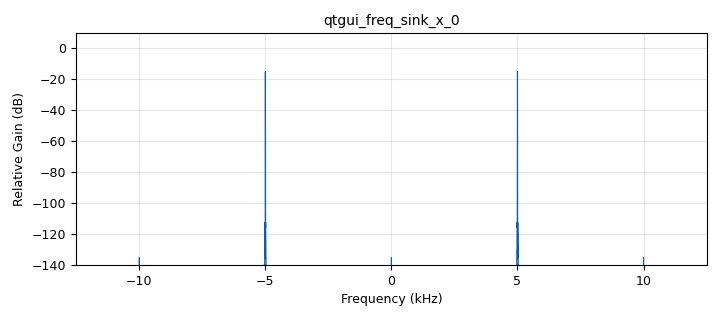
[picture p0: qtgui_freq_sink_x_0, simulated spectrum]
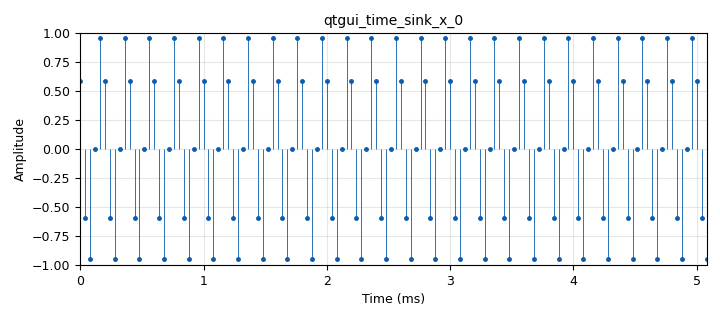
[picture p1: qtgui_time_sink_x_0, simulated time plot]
options:
  parameters:
    generate_options: qt_gui
    id: Lab1b_2
    output_language: python
    title: Lab1_b_2
  states: {}

blocks:
- name: freq
  id: variable_qtgui_range
  parameters:
    label: Frequency
    start: '100'
    step: '100'
    stop: '40000'
    value: '5000'
  states: {}
- name: samp_rate
  id: variable_qtgui_range
  parameters:
    label: Frecuencia de muestreo
    start: '100'
    step: '100'
    stop: '40000'
    value: '25000'
  states: {}
- name: analog_sig_source_x_0
  id: analog_sig_source_x
  parameters:
    amp: '1'
    freq: freq
    offset: '0'
    phase: '0'
    samp_rate: samp_rate
    type: float
    waveform: analog.GR_SIN_WAVE
  states: {}
- name: blocks_throttle_0
  id: blocks_throttle
  parameters:
    samples_per_second: samp_rate
    type: float
  states: {}
- name: qtgui_freq_sink_x_0
  id: qtgui_freq_sink_x
  parameters:
    bw: samp_rate
    fc: '0'
    fftsize: '16384'
    type: float
  states: {}
- name: qtgui_time_sink_x_0
  id: qtgui_time_sink_x
  parameters:
    size: '128'
    srate: samp_rate
    stemplot: 'True'
    type: float
  states: {}

connections:
- [analog_sig_source_x_0, '0', blocks_throttle_0, '0']
- [blocks_throttle_0, '0', qtgui_freq_sink_x_0, '0']
- [blocks_throttle_0, '0', qtgui_time_sink_x_0, '0']

metadata:
  file_format: 1
  grc_version: 3.10.5.1
